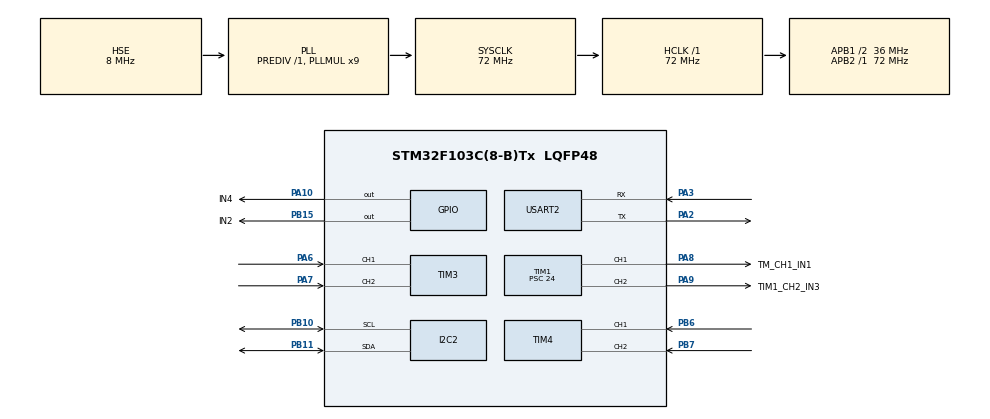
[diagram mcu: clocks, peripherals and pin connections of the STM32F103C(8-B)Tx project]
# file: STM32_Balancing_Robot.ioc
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Dma.Request0=USART2_RX
Dma.USART2_RX.0.Direction=DMA_PERIPH_TO_MEMORY
Dma.USART2_RX.0.Instance=DMA1_Channel6
Dma.USART2_RX.0.MemDataAlignment=DMA_MDATAALIGN_BYTE
Dma.USART2_RX.0.MemInc=DMA_MINC_ENABLE
Dma.USART2_RX.0.Mode=DMA_CIRCULAR
Dma.USART2_RX.0.PeriphDataAlignment=DMA_PDATAALIGN_BYTE
Dma.USART2_RX.0.PeriphInc=DMA_PINC_DISABLE
Dma.USART2_RX.0.Priority=DMA_PRIORITY_LOW
I2C2.I2C_Mode=I2C_Fast
IWDG.Prescaler=IWDG_PRESCALER_32
IWDG.Reload=3750
Mcu.Family=STM32F1
Mcu.Name=STM32F103C(8-B)Tx
Mcu.Package=LQFP48
NVIC.DMA1_Channel6_IRQn=true\:0\:0\:false\:false\:true\:false\:true\:true
NVIC.PriorityGroup=NVIC_PRIORITYGROUP_4
NVIC.TIM2_IRQn=true\:0\:0\:false\:false\:true\:true\:true\:true
PA10.GPIO_Label=IN4
PA10.GPIO_Speed=GPIO_SPEED_FREQ_MEDIUM
PA10.Signal=GPIO_Output
PA13.Mode=Serial_Wire
PA13.Signal=SYS_JTMS-SWDIO
PA14.Mode=Serial_Wire
PA14.Signal=SYS_JTCK-SWCLK
PA2.Mode=Asynchronous
PA2.Signal=USART2_TX
PA3.Mode=Asynchronous
PA3.Signal=USART2_RX
PA6.Signal=S_TIM3_CH1
PA7.Signal=S_TIM3_CH2
PA8.GPIO_Label=TM_CH1_IN1
PA8.Signal=S_TIM1_CH1
PA9.GPIO_Label=TIM1_CH2_IN3
PA9.Signal=S_TIM1_CH2
PB10.Mode=I2C
PB10.Signal=I2C2_SCL
PB11.Mode=I2C
PB11.Signal=I2C2_SDA
PB15.GPIO_Label=IN2
PB15.GPIO_Speed=GPIO_SPEED_FREQ_MEDIUM
PB15.Signal=GPIO_Output
PB6.Signal=S_TIM4_CH1
PB7.Signal=S_TIM4_CH2
PD0-OSC_IN.Mode=HSE-External-Oscillator
PD0-OSC_IN.Signal=RCC_OSC_IN
PD1-OSC_OUT.Mode=HSE-External-Oscillator
PD1-OSC_OUT.Signal=RCC_OSC_OUT
ProjectManager.HeapSize=0x200
ProjectManager.StackSize=0x400
ProjectManager.TargetToolchain=CMake
RCC.AHBFreq_Value=72000000
RCC.APB1CLKDivider=RCC_HCLK_DIV2
RCC.APB1Freq_Value=36000000
RCC.APB1TimFreq_Value=72000000
RCC.APB2Freq_Value=72000000
RCC.APB2TimFreq_Value=72000000
RCC.HCLKFreq_Value=72000000
RCC.PLLMUL=RCC_PLL_MUL9
RCC.PLLSourceVirtual=RCC_PLLSOURCE_HSE
RCC.SYSCLKFreq_VALUE=72000000
RCC.SYSCLKSource=RCC_SYSCLKSOURCE_PLLCLK
RCC.USBFreq_Value=72000000
SH.S_TIM1_CH1.0=TIM1_CH1,PWM Generation1 CH1
SH.S_TIM1_CH2.0=TIM1_CH2,PWM Generation2 CH2
SH.S_TIM3_CH1.0=TIM3_CH1,Encoder_Interface
SH.S_TIM3_CH2.0=TIM3_CH2,Encoder_Interface
SH.S_TIM4_CH1.0=TIM4_CH1,Encoder_Interface
SH.S_TIM4_CH2.0=TIM4_CH2,Encoder_Interface
TIM1.Channel-PWM\ Generation1\ CH1=TIM_CHANNEL_1
TIM1.Channel-PWM\ Generation2\ CH2=TIM_CHANNEL_2
TIM1.Period=2879
TIM1.Prescaler=24
TIM2.Period=4999
TIM2.Prescaler=71
TIM3.EncoderMode=TIM_ENCODERMODE_TI12
TIM4.EncoderMode=TIM_ENCODERMODE_TI12
USART2.VirtualMode=VM_ASYNC
VP_IWDG_VS_IWDG.Mode=IWDG_Activate
VP_TIM1_VS_ClockSourceINT.Mode=Internal
VP_TIM2_VS_ClockSourceINT.Mode=Internal
board=custom

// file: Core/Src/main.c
/* USER CODE BEGIN Header */
/**
 ******************************************************************************
 * @file           : main.c
 * @brief          : Main program body
 ******************************************************************************
 * @attention
 *
 * Copyright (c) 2026 STMicroelectronics.
 * All rights reserved.
 *
 * This software is licensed under terms that can be found in the LICENSE file
 * in the root directory of this software component.
 * If no LICENSE file comes with this software, it is provided AS-IS.
 *
 ******************************************************************************
 */
/* USER CODE END Header */
#include "main.h"

/* USER CODE BEGIN Includes */
#include "MPU6050.h"
#include "Motor.h"
#include "PID.h"
#include "stm32f1xx_hal.h"
#include <math.h>

/* USER CODE END Includes */

/* USER CODE BEGIN PTD */
typedef enum { ROBOT_STOP = 0, ROBOT_RUNNING = 1 } Robot_StateTypedef;
/* USER CODE END PTD */

/* USER CODE BEGIN PD */
#define ANGLE_LOOP_TICK_5MS 1U
#define SPEED_LOOP_TICK_5MS 6U
#define S_TO_5MS 0.005f

#define MPU6050_ADDR 0x68
#define SAMPLES 200
#define IMU_FALL_LIMITS 5U
#define IMU_RESET_EVERY 40U

#define MOTOR1_REVERSED 0
#define MOTOR2_REVERSED 1
#define MOTOR_DEADBAND 500

#define ANGLE_KP 340.0f
#define ANGLE_KI 0.0f
#define ANGLE_KD 14.0f
#define ANGLE_OFFSET 8.5f
#define ANGLE_ANTI_WIND_UP 0.0f

#define SPEED_KP 0.1f
#define SPEED_KI 0.02f
#define SPEED_KD 0.0f
#define SPEED_ANTI_WIND_UP 8.0f
#define SPEED_TARGET_ANGLE_LIMIT_DEG 20.0f
#define SPEED_LFB_ALPHA 0.6F
#define SPEED_LOOP_DELAY_TICK5MS 30U

#define FALLING_ANGLE_DEG 45.0f
#define ARM_ANGLE_DEG 15.0f
#define ARM_HOLD_S 0.5f

#define MAX_PWM 2879
#define MIN_PWM -2879

/* USER CODE END PD */

I2C_HandleTypeDef hi2c2;

IWDG_HandleTypeDef hiwdg;

TIM_HandleTypeDef htim1;
TIM_HandleTypeDef htim2;
TIM_HandleTypeDef htim3;
TIM_HandleTypeDef htim4;

UART_HandleTypeDef huart2;
DMA_HandleTypeDef hdma_usart2_rx;

/* USER CODE BEGIN PV */
MPU6050_TypeDef MyMPU;

Motor_t motor1;
Motor_t motor2;

PID_t PID_Angle;
PID_t PID_Speed;

Robot_StateTypedef state = ROBOT_STOP;

float target_angle = 0.0f;
float filtered_speed = 0.0f;
float arm_hold_s = 0.0f;
uint32_t run_start_tick = 0;

uint16_t last_en1 = 0;
uint16_t last_en2 = 0;

volatile uint32_t tick_5ms = 0;
/* USER CODE END PV */

void SystemClock_Config(void);
static void MX_GPIO_Init(void);
static void MX_DMA_Init(void);
static void MX_TIM1_Init(void);
static void MX_I2C2_Init(void);
static void MX_TIM2_Init(void);
static void MX_TIM3_Init(void);
static void MX_TIM4_Init(void);
static void MX_USART2_UART_Init(void);
static void MX_IWDG_Init(void);
/* USER CODE BEGIN PFP */
void HAL_TIM_PeriodElapsedCallback(TIM_HandleTypeDef *htim);
void Robot_AngleLoop(float dt);
void Robot_SpeedLoop(float dt);
void Robot_Stop(void);
uint8_t checksum(const uint8_t *data, uint8_t lenght);
/* USER CODE END PFP */

/* USER CODE BEGIN 0 */
void HAL_TIM_PeriodElapsedCallback(TIM_HandleTypeDef *htim) {
  if (htim->Instance == TIM2) {
    tick_5ms++;
  }
}
void Robot_Stop() {
  Motor_stop(&motor1);
  Motor_stop(&motor2);

  PID_reset(&PID_Angle);
  PID_reset(&PID_Speed);

  filtered_speed = 0.0f;
  target_angle = ANGLE_OFFSET;

  arm_hold_s = 0;

  state = ROBOT_STOP;
}
void Robot_AngleLoop(float dt) {
  static uint8_t failure = 0;
  if (MPU6050_ReadAll(&MyMPU, dt) != MPU_OK) {
    failure++;
    if (failure >= IMU_FALL_LIMITS)
      Robot_Stop();
    if (failure % IMU_RESET_EVERY == 0U)
      MPU6050_RecoverBus(&MyMPU);
    return;
  } else
    failure = 0;
  const float pitch = MyMPU.Pitch;
  if (state == ROBOT_RUNNING) {
    if (fabsf(pitch - ANGLE_OFFSET) >= FALLING_ANGLE_DEG) {
      Robot_Stop();
      return;
    }
    float pwm_motor = PID_compute_WithRate(&PID_Angle, target_angle, pitch,
                                           MyMPU.KalmanPitch.rate, dt);
    Motor_setspeed(&motor1, pwm_motor);
    Motor_setspeed(&motor2, pwm_motor);
  } else {
    if (fabsf(pitch - ANGLE_OFFSET) < ARM_ANGLE_DEG) {
      arm_hold_s += dt;
      if (arm_hold_s > ARM_HOLD_S) {
        run_start_tick = tick_5ms;
        target_angle = ANGLE_OFFSET;
        state = ROBOT_RUNNING;
      }
    } else {
      arm_hold_s = 0;
    }
  }
}
void Robot_SpeedLoop(float dt) {
  uint16_t curr_en1 = __HAL_TIM_GET_COUNTER(&htim3);
  uint16_t curr_en2 = __HAL_TIM_GET_COUNTER(&htim4);

  int16_t delta_en1 = (int16_t)(curr_en1 - last_en1);
  int16_t delta_en2 = -(int16_t)(curr_en2 - last_en2);

  last_en1 = curr_en1;
  last_en2 = curr_en2;
  if (state == ROBOT_STOP)
    return;

  float encoder_avg = (float)(delta_en1 + delta_en2) * 0.5f;

  filtered_speed = (1.0f - SPEED_LFB_ALPHA) * filtered_speed +
                   encoder_avg * (SPEED_LFB_ALPHA);
  const uint32_t now = tick_5ms;
  if (now - run_start_tick > SPEED_LOOP_DELAY_TICK5MS) {
    target_angle =
        ANGLE_OFFSET + PID_compute(&PID_Speed, 0.0f, filtered_speed, dt);
  }
}

/* USER CODE END 0 */

int main(void) {

  /* MCU Configuration--------------------------------------------------------*/

  /* Reset of all peripherals, Initializes the Flash interface and the Systick.
   */
  HAL_Init();
  HAL_Delay(200);
  /* USER CODE BEGIN Init */
  uint32_t last_angle_tick = 0;
  uint32_t last_speed_tick = 0;
  /* USER CODE END Init */

  /* Configure the system clock */
  SystemClock_Config();

  /* Initialize all configured peripherals */
  MX_GPIO_Init();
  MX_DMA_Init();
  MX_TIM1_Init();
  MX_I2C2_Init();
  MX_TIM2_Init();
  MX_TIM3_Init();
  MX_TIM4_Init();
  MX_USART2_UART_Init();

  /* USER CODE BEGIN 2 */

  Motor_init(&motor1, IN2_GPIO_Port, IN2_Pin, &htim1, TIM_CHANNEL_1,
             MOTOR1_REVERSED, MOTOR_DEADBAND);
  Motor_init(&motor2, IN4_GPIO_Port, IN4_Pin, &htim1, TIM_CHANNEL_2,
             MOTOR2_REVERSED, MOTOR_DEADBAND);
  Motor_stop(&motor1);
  Motor_stop(&motor2);

  HAL_TIM_PWM_Start(&htim1, TIM_CHANNEL_1);
  HAL_TIM_PWM_Start(&htim1, TIM_CHANNEL_2);
  __HAL_TIM_MOE_ENABLE(&htim1);

  HAL_TIM_Encoder_Start(&htim3, TIM_CHANNEL_ALL);
  HAL_TIM_Encoder_Start(&htim4, TIM_CHANNEL_ALL);
  last_en1 = (uint16_t)__HAL_TIM_GET_COUNTER(&htim3);
  last_en2 = (uint16_t)__HAL_TIM_GET_COUNTER(&htim4);

  if (MPU6050_Init(&MyMPU, &hi2c2, MPU6050_ADDR) != MPU_OK ||
      MPU6050_Calibrate(&MyMPU, SAMPLES) != MPU_OK) {
    Error_Handler();
  }

  PID_init(&PID_Angle, ANGLE_KP, ANGLE_KI, ANGLE_KD, MIN_PWM, MAX_PWM,
           ANGLE_ANTI_WIND_UP);

  PID_init(&PID_Speed, SPEED_KP, SPEED_KI, SPEED_KD,
           -SPEED_TARGET_ANGLE_LIMIT_DEG, SPEED_TARGET_ANGLE_LIMIT_DEG,
           SPEED_ANTI_WIND_UP);
  target_angle = ANGLE_OFFSET;
  HAL_TIM_Base_Start_IT(&htim2);
  MX_IWDG_Init();
  /* USER CODE END 2 */

  /* Infinite loop */
  while (1) {

    /* USER CODE BEGIN 3 */
    uint32_t now = tick_5ms;
    uint32_t elasped = now - last_angle_tick;
    if (elasped >= ANGLE_LOOP_TICK_5MS) {
      Robot_AngleLoop((float)elasped * S_TO_5MS);
      last_angle_tick = now;
    }
    now = tick_5ms;
    elasped = now - last_speed_tick;

    if (elasped >= SPEED_LOOP_TICK_5MS) {

      Robot_SpeedLoop((float)elasped * S_TO_5MS);
      last_speed_tick = now;
    }
    HAL_IWDG_Refresh(&hiwdg);
  }
  /* USER CODE END 3 */
}

void SystemClock_Config(void) {
  RCC_OscInitTypeDef RCC_OscInitStruct = {0};
  RCC_ClkInitTypeDef RCC_ClkInitStruct = {0};

  /** Initializes the RCC Oscillators according to the specified parameters
   * in the RCC_OscInitTypeDef structure.
   */
  RCC_OscInitStruct.OscillatorType =
      RCC_OSCILLATORTYPE_LSI | RCC_OSCILLATORTYPE_HSE;
  RCC_OscInitStruct.HSEState = RCC_HSE_ON;
  RCC_OscInitStruct.HSEPredivValue = RCC_HSE_PREDIV_DIV1;
  RCC_OscInitStruct.HSIState = RCC_HSI_ON;
  RCC_OscInitStruct.LSIState = RCC_LSI_ON;
  RCC_OscInitStruct.PLL.PLLState = RCC_PLL_ON;
  RCC_OscInitStruct.PLL.PLLSource = RCC_PLLSOURCE_HSE;
  RCC_OscInitStruct.PLL.PLLMUL = RCC_PLL_MUL9;
  if (HAL_RCC_OscConfig(&RCC_OscInitStruct) != HAL_OK) {
    Error_Handler();
  }

  /** Initializes the CPU, AHB and APB buses clocks
   */
  RCC_ClkInitStruct.ClockType = RCC_CLOCKTYPE_HCLK | RCC_CLOCKTYPE_SYSCLK |
                                RCC_CLOCKTYPE_PCLK1 | RCC_CLOCKTYPE_PCLK2;
  RCC_ClkInitStruct.SYSCLKSource = RCC_SYSCLKSOURCE_PLLCLK;
  RCC_ClkInitStruct.AHBCLKDivider = RCC_SYSCLK_DIV1;
  RCC_ClkInitStruct.APB1CLKDivider = RCC_HCLK_DIV2;
  RCC_ClkInitStruct.APB2CLKDivider = RCC_HCLK_DIV1;

  if (HAL_RCC_ClockConfig(&RCC_ClkInitStruct, FLASH_LATENCY_2) != HAL_OK) {
    Error_Handler();
  }
}

static void MX_I2C2_Init(void) {

  hi2c2.Instance = I2C2;
  hi2c2.Init.ClockSpeed = 400000;
  hi2c2.Init.DutyCycle = I2C_DUTYCYCLE_2;
  hi2c2.Init.OwnAddress1 = 0;
  hi2c2.Init.AddressingMode = I2C_ADDRESSINGMODE_7BIT;
  hi2c2.Init.DualAddressMode = I2C_DUALADDRESS_DISABLE;
  hi2c2.Init.OwnAddress2 = 0;
  hi2c2.Init.GeneralCallMode = I2C_GENERALCALL_DISABLE;
  hi2c2.Init.NoStretchMode = I2C_NOSTRETCH_DISABLE;
  if (HAL_I2C_Init(&hi2c2) != HAL_OK) {
    Error_Handler();
  }
}

static void MX_IWDG_Init(void) {

  hiwdg.Instance = IWDG;
  hiwdg.Init.Prescaler = IWDG_PRESCALER_32;
  hiwdg.Init.Reload = 3750;
  if (HAL_IWDG_Init(&hiwdg) != HAL_OK) {
    Error_Handler();
  }
}

static void MX_TIM1_Init(void) {

  TIM_ClockConfigTypeDef sClockSourceConfig = {0};
  TIM_MasterConfigTypeDef sMasterConfig = {0};
  TIM_OC_InitTypeDef sConfigOC = {0};
  TIM_BreakDeadTimeConfigTypeDef sBreakDeadTimeConfig = {0};

  htim1.Instance = TIM1;
  htim1.Init.Prescaler = 24;
  htim1.Init.CounterMode = TIM_COUNTERMODE_UP;
  htim1.Init.Period = 2879;
  htim1.Init.ClockDivision = TIM_CLOCKDIVISION_DIV1;
  htim1.Init.RepetitionCounter = 0;
  htim1.Init.AutoReloadPreload = TIM_AUTORELOAD_PRELOAD_DISABLE;
  if (HAL_TIM_Base_Init(&htim1) != HAL_OK) {
    Error_Handler();
  }
  sClockSourceConfig.ClockSource = TIM_CLOCKSOURCE_INTERNAL;
  if (HAL_TIM_ConfigClockSource(&htim1, &sClockSourceConfig) != HAL_OK) {
    Error_Handler();
  }
  if (HAL_TIM_PWM_Init(&htim1) != HAL_OK) {
    Error_Handler();
  }
  sMasterConfig.MasterOutputTrigger = TIM_TRGO_RESET;
  sMasterConfig.MasterSlaveMode = TIM_MASTERSLAVEMODE_DISABLE;
  if (HAL_TIMEx_MasterConfigSynchronization(&htim1, &sMasterConfig) != HAL_OK) {
    Error_Handler();
  }
  sConfigOC.OCMode = TIM_OCMODE_PWM1;
  sConfigOC.Pulse = 0;
  sConfigOC.OCPolarity = TIM_OCPOLARITY_HIGH;
  sConfigOC.OCNPolarity = TIM_OCNPOLARITY_HIGH;
  sConfigOC.OCFastMode = TIM_OCFAST_DISABLE;
  sConfigOC.OCIdleState = TIM_OCIDLESTATE_RESET;
  sConfigOC.OCNIdleState = TIM_OCNIDLESTATE_RESET;
  if (HAL_TIM_PWM_ConfigChannel(&htim1, &sConfigOC, TIM_CHANNEL_1) != HAL_OK) {
    Error_Handler();
  }
  if (HAL_TIM_PWM_ConfigChannel(&htim1, &sConfigOC, TIM_CHANNEL_2) != HAL_OK) {
    Error_Handler();
  }
  sBreakDeadTimeConfig.OffStateRunMode = TIM_OSSR_DISABLE;
  sBreakDeadTimeConfig.OffStateIDLEMode = TIM_OSSI_DISABLE;
  sBreakDeadTimeConfig.LockLevel = TIM_LOCKLEVEL_OFF;
  sBreakDeadTimeConfig.DeadTime = 0;
  sBreakDeadTimeConfig.BreakState = TIM_BREAK_DISABLE;
  sBreakDeadTimeConfig.BreakPolarity = TIM_BREAKPOLARITY_HIGH;
  sBreakDeadTimeConfig.AutomaticOutput = TIM_AUTOMATICOUTPUT_DISABLE;
  if (HAL_TIMEx_ConfigBreakDeadTime(&htim1, &sBreakDeadTimeConfig) != HAL_OK) {
    Error_Handler();
  }
  HAL_TIM_MspPostInit(&htim1);
}

static void MX_TIM2_Init(void) {

  TIM_ClockConfigTypeDef sClockSourceConfig = {0};
  TIM_MasterConfigTypeDef sMasterConfig = {0};

  htim2.Instance = TIM2;
  htim2.Init.Prescaler = 71;
  htim2.Init.CounterMode = TIM_COUNTERMODE_UP;
  htim2.Init.Period = 4999;
  htim2.Init.ClockDivision = TIM_CLOCKDIVISION_DIV1;
  htim2.Init.AutoReloadPreload = TIM_AUTORELOAD_PRELOAD_DISABLE;
  if (HAL_TIM_Base_Init(&htim2) != HAL_OK) {
    Error_Handler();
  }
  sClockSourceConfig.ClockSource = TIM_CLOCKSOURCE_INTERNAL;
  if (HAL_TIM_ConfigClockSource(&htim2, &sClockSourceConfig) != HAL_OK) {
    Error_Handler();
  }
  sMasterConfig.MasterOutputTrigger = TIM_TRGO_RESET;
  sMasterConfig.MasterSlaveMode = TIM_MASTERSLAVEMODE_DISABLE;
  if (HAL_TIMEx_MasterConfigSynchronization(&htim2, &sMasterConfig) != HAL_OK) {
    Error_Handler();
  }
}

static void MX_TIM3_Init(void) {

  TIM_Encoder_InitTypeDef sConfig = {0};
  TIM_MasterConfigTypeDef sMasterConfig = {0};

  htim3.Instance = TIM3;
  htim3.Init.Prescaler = 0;
  htim3.Init.CounterMode = TIM_COUNTERMODE_UP;
  htim3.Init.Period = 65535;
  htim3.Init.ClockDivision = TIM_CLOCKDIVISION_DIV1;
  htim3.Init.AutoReloadPreload = TIM_AUTORELOAD_PRELOAD_DISABLE;
  sConfig.EncoderMode = TIM_ENCODERMODE_TI12;
  sConfig.IC1Polarity = TIM_ICPOLARITY_RISING;
  sConfig.IC1Selection = TIM_ICSELECTION_DIRECTTI;
  sConfig.IC1Prescaler = TIM_ICPSC_DIV1;
  sConfig.IC1Filter = 0;
  sConfig.IC2Polarity = TIM_ICPOLARITY_RISING;
  sConfig.IC2Selection = TIM_ICSELECTION_DIRECTTI;
  sConfig.IC2Prescaler = TIM_ICPSC_DIV1;
  sConfig.IC2Filter = 0;
  if (HAL_TIM_Encoder_Init(&htim3, &sConfig) != HAL_OK) {
    Error_Handler();
  }
  sMasterConfig.MasterOutputTrigger = TIM_TRGO_RESET;
  sMasterConfig.MasterSlaveMode = TIM_MASTERSLAVEMODE_DISABLE;
  if (HAL_TIMEx_MasterConfigSynchronization(&htim3, &sMasterConfig) != HAL_OK) {
    Error_Handler();
  }
}

static void MX_TIM4_Init(void) {

  TIM_Encoder_InitTypeDef sConfig = {0};
  TIM_MasterConfigTypeDef sMasterConfig = {0};

  htim4.Instance = TIM4;
  htim4.Init.Prescaler = 0;
  htim4.Init.CounterMode = TIM_COUNTERMODE_UP;
  htim4.Init.Period = 65535;
  htim4.Init.ClockDivision = TIM_CLOCKDIVISION_DIV1;
  htim4.Init.AutoReloadPreload = TIM_AUTORELOAD_PRELOAD_DISABLE;
  sConfig.EncoderMode = TIM_ENCODERMODE_TI12;
  sConfig.IC1Polarity = TIM_ICPOLARITY_RISING;
  sConfig.IC1Selection = TIM_ICSELECTION_DIRECTTI;
  sConfig.IC1Prescaler = TIM_ICPSC_DIV1;
  sConfig.IC1Filter = 0;
  sConfig.IC2Polarity = TIM_ICPOLARITY_RISING;
  sConfig.IC2Selection = TIM_ICSELECTION_DIRECTTI;
  sConfig.IC2Prescaler = TIM_ICPSC_DIV1;
  sConfig.IC2Filter = 0;
  if (HAL_TIM_Encoder_Init(&htim4, &sConfig) != HAL_OK) {
    Error_Handler();
  }
  sMasterConfig.MasterOutputTrigger = TIM_TRGO_RESET;
  sMasterConfig.MasterSlaveMode = TIM_MASTERSLAVEMODE_DISABLE;
  if (HAL_TIMEx_MasterConfigSynchronization(&htim4, &sMasterConfig) != HAL_OK) {
    Error_Handler();
  }
}

static void MX_USART2_UART_Init(void) {

  huart2.Instance = USART2;
  huart2.Init.BaudRate = 115200;
  huart2.Init.WordLength = UART_WORDLENGTH_8B;
  huart2.Init.StopBits = UART_STOPBITS_1;
  huart2.Init.Parity = UART_PARITY_NONE;
  huart2.Init.Mode = UART_MODE_TX_RX;
  huart2.Init.HwFlowCtl = UART_HWCONTROL_NONE;
  huart2.Init.OverSampling = UART_OVERSAMPLING_16;
  if (HAL_UART_Init(&huart2) != HAL_OK) {
    Error_Handler();
  }
}

static void MX_DMA_Init(void) {

  /* DMA controller clock enable */
  __HAL_RCC_DMA1_CLK_ENABLE();

  /* DMA interrupt init */
  /* DMA1_Channel6_IRQn interrupt configuration */
  HAL_NVIC_SetPriority(DMA1_Channel6_IRQn, 0, 0);
  HAL_NVIC_EnableIRQ(DMA1_Channel6_IRQn);
}

static void MX_GPIO_Init(void) {
  GPIO_InitTypeDef GPIO_InitStruct = {0};

  /* GPIO Ports Clock Enable */
  __HAL_RCC_GPIOD_CLK_ENABLE();
  __HAL_RCC_GPIOA_CLK_ENABLE();
  __HAL_RCC_GPIOB_CLK_ENABLE();

  /*Configure GPIO pin Output Level */
  HAL_GPIO_WritePin(IN2_GPIO_Port, IN2_Pin, GPIO_PIN_RESET);

  /*Configure GPIO pin Output Level */
  HAL_GPIO_WritePin(IN4_GPIO_Port, IN4_Pin, GPIO_PIN_RESET);

  /*Configure GPIO pin : IN2_Pin */
  GPIO_InitStruct.Pin = IN2_Pin;
  GPIO_InitStruct.Mode = GPIO_MODE_OUTPUT_PP;
  GPIO_InitStruct.Pull = GPIO_NOPULL;
  GPIO_InitStruct.Speed = GPIO_SPEED_FREQ_MEDIUM;
  HAL_GPIO_Init(IN2_GPIO_Port, &GPIO_InitStruct);

  /*Configure GPIO pin : IN4_Pin */
  GPIO_InitStruct.Pin = IN4_Pin;
  GPIO_InitStruct.Mode = GPIO_MODE_OUTPUT_PP;
  GPIO_InitStruct.Pull = GPIO_NOPULL;
  GPIO_InitStruct.Speed = GPIO_SPEED_FREQ_MEDIUM;
  HAL_GPIO_Init(IN4_GPIO_Port, &GPIO_InitStruct);

}

void Error_Handler(void) {
  /* USER CODE BEGIN Error_Handler_Debug */
  /* User can add his own implementation to report the HAL error return state
   */
  __disable_irq();
  __HAL_RCC_GPIOC_CLK_ENABLE();
  GPIO_InitTypeDef GPIO_InitStruct = {0};
  GPIO_InitStruct.Pin = GPIO_PIN_13;
  GPIO_InitStruct.Mode = GPIO_MODE_OUTPUT_PP;
  GPIO_InitStruct.Speed = GPIO_SPEED_FREQ_LOW;
  HAL_GPIO_Init(GPIOC, &GPIO_InitStruct);
  while (1) {
    GPIOC->ODR ^= GPIO_PIN_13;
    for (volatile uint32_t i = 0; i < 400000; i++)
      ;
  }
  /* USER CODE END Error_Handler_Debug */
}
#ifdef USE_FULL_ASSERT
/**
 * @brief  Reports the name of the source file and the source line number
 *         where the assert_param error has occurred.
 * @param  file: pointer to the source file name
 * @param  line: assert_param error line source number
 * @retval None
 */
void assert_failed(uint8_t *file, uint32_t line) {
  /* USER CODE BEGIN 6 */
  /* User can add his own implementation to report the file name and line
     number, ex: printf("Wrong parameters value: file %s on line %d\r\n",
     file, line) */
  /* USER CODE END 6 */
}
#endif /* USE_FULL_ASSERT */
